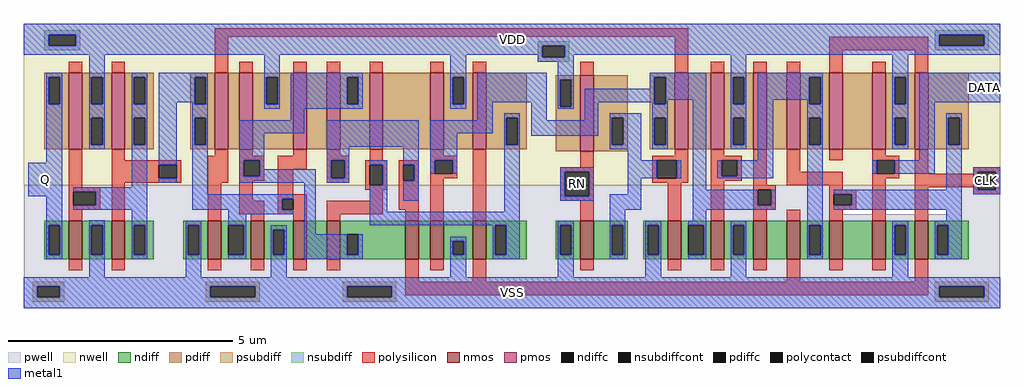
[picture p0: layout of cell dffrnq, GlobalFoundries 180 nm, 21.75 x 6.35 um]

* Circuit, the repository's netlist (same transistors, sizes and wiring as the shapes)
* NGSPICE file created from dffrnq.ext - technology: gf180mcuD

.subckt dffrnq VDD VSS DATA CLK RN Q
X0 a_n870_270# RN VDD VDD pfet_03v3 ad=1.275p pd=4.9u as=0.935p ps=4.5u w=1.7u l=0.3u
X1 a_n1490_270# a_n1300_270# VSS VSS nfet_03v3 ad=0.54825p pd=2.99u as=0.27625p ps=1.5u w=0.85u l=0.3u
X2 a_n1300_270# a_n870_270# VSS VSS nfet_03v3 ad=0.27625p pd=1.5u as=0.4675p ps=2.8u w=0.85u l=0.3u
X3 a_120_270# a_n870_270# VSS VSS nfet_03v3 ad=0.27625p pd=1.5u as=0.4675p ps=2.8u w=0.85u l=0.3u
X4 a_1370_270# CLK a_1620_320# VSS nfet_03v3 ad=0.27625p pd=1.5u as=0.19125p ps=1.3u w=0.85u l=0.3u
X5 a_n730_520# CLK a_n430_810# VDD pfet_03v3 ad=0.5525p pd=2.35u as=0.3825p ps=2.15u w=1.7u l=0.3u
X6 a_n340_270# CLK VSS VSS nfet_03v3 ad=0.765p pd=3.5u as=0.27625p ps=1.5u w=0.85u l=0.3u
X7 VDD a_n730_520# a_n780_810# VDD pfet_03v3 ad=0.765p pd=2.6u as=0.2125p ps=1.95u w=1.7u l=0.3u
X8 a_1620_810# a_120_270# VDD VDD pfet_03v3 ad=0.3825p pd=2.15u as=0.5525p ps=2.35u w=1.7u l=0.3u
X9 VDD a_120_270# a_n90_810# VDD pfet_03v3 ad=0.5525p pd=2.35u as=0.8925p ps=2.75u w=1.7u l=0.3u
X10 a_1710_650# CLK VDD VDD pfet_03v3 ad=1.53p pd=5.2u as=0.5525p ps=2.35u w=1.7u l=0.3u
X11 a_1270_810# a_n870_270# a_120_270# VDD pfet_03v3 ad=0.425p pd=2.2u as=0.935p ps=4.5u w=1.7u l=0.3u
X12 a_n730_520# a_n340_270# a_n430_320# VSS nfet_03v3 ad=0.61625p pd=2.3u as=0.19125p ps=1.3u w=0.85u l=0.3u
X13 a_1620_320# a_120_270# VSS VSS nfet_03v3 ad=0.19125p pd=1.3u as=0.27625p ps=1.5u w=0.85u l=0.3u
X14 VSS a_n730_520# a_n1300_270# VSS nfet_03v3 ad=0.27625p pd=1.5u as=0.27625p ps=1.5u w=0.85u l=0.3u
X15 a_70_320# CLK a_n730_520# VSS nfet_03v3 ad=0.10625p pd=1.1u as=0.61625p ps=2.3u w=0.85u l=0.3u
X16 VDD a_n1490_270# Q VDD pfet_03v3 ad=0.5525p pd=2.35u as=0.935p ps=4.5u w=1.7u l=0.3u
X17 a_n90_810# a_n340_270# a_n730_520# VDD pfet_03v3 ad=0.8925p pd=2.75u as=0.5525p ps=2.35u w=1.7u l=0.3u
X18 VSS a_120_270# a_70_320# VSS nfet_03v3 ad=0.27625p pd=1.5u as=0.10625p ps=1.1u w=0.85u l=0.3u
X19 a_n430_810# a_n1300_270# VDD VDD pfet_03v3 ad=0.3825p pd=2.15u as=0.765p ps=2.6u w=1.7u l=0.3u
X20 VDD a_1370_270# a_1270_810# VDD pfet_03v3 ad=0.5525p pd=2.35u as=0.425p ps=2.2u w=1.7u l=0.3u
X21 a_1960_810# CLK a_1370_270# VDD pfet_03v3 ad=0.5525p pd=2.35u as=0.5525p ps=2.35u w=1.7u l=0.3u
X22 a_1710_650# CLK VSS VSS nfet_03v3 ad=0.765p pd=3.5u as=0.27625p ps=1.5u w=0.85u l=0.3u
X23 a_n780_810# a_n870_270# a_n1300_270# VDD pfet_03v3 ad=0.2125p pd=1.95u as=0.935p ps=4.5u w=1.7u l=0.3u
X24 VDD DATA a_1960_810# VDD pfet_03v3 ad=0.5525p pd=2.35u as=0.5525p ps=2.35u w=1.7u l=0.3u
X25 VSS a_n1490_270# Q VSS nfet_03v3 ad=0.27625p pd=1.5u as=0.4675p ps=2.8u w=0.85u l=0.3u
X26 VSS a_1370_270# a_120_270# VSS nfet_03v3 ad=0.27625p pd=1.5u as=0.27625p ps=1.5u w=0.85u l=0.3u
X27 a_1960_320# a_1710_650# a_1370_270# VSS nfet_03v3 ad=0.27625p pd=1.5u as=0.27625p ps=1.5u w=0.85u l=0.3u
X28 a_n430_320# a_n1300_270# VSS VSS nfet_03v3 ad=0.19125p pd=1.3u as=0.27625p ps=1.5u w=0.85u l=0.3u
X29 a_n1490_270# a_n1300_270# VDD VDD pfet_03v3 ad=1.0965p pd=4.69u as=0.5525p ps=2.35u w=1.7u l=0.3u
X30 a_1370_270# a_1710_650# a_1620_810# VDD pfet_03v3 ad=0.5525p pd=2.35u as=0.3825p ps=2.15u w=1.7u l=0.3u
X31 VSS DATA a_1960_320# VSS nfet_03v3 ad=0.27625p pd=1.5u as=0.27625p ps=1.5u w=0.85u l=0.3u
X32 a_n870_270# RN VSS VSS nfet_03v3 ad=0.6375p pd=3.2u as=0.4675p ps=2.8u w=0.85u l=0.3u
X33 a_n340_270# CLK VDD VDD pfet_03v3 ad=1.53p pd=5.2u as=0.5525p ps=2.35u w=1.7u l=0.3u
.ends

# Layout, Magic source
magic
tech gf180mcuD
magscale 1 10
<< nwell >>
rect -1690 650 2660 1370
<< pwell >>
rect -1690 540 2660 650
rect -1690 520 1960 540
rect 2090 520 2150 540
rect 2280 520 2340 540
rect 2420 520 2660 540
rect -1690 100 2660 520
<< nmos >>
rect -1490 320 -1430 490
rect -1300 320 -1240 490
rect -870 320 -810 490
rect -680 320 -620 490
rect -490 320 -430 490
rect -340 320 -280 490
rect 10 320 70 490
rect 120 320 180 490
rect 310 320 370 490
rect 790 320 850 490
rect 1180 320 1240 490
rect 1370 320 1430 490
rect 1560 320 1620 490
rect 1710 320 1770 490
rect 1900 320 1960 490
rect 2090 320 2150 490
rect 2280 320 2340 490
<< pmos >>
rect -1490 810 -1430 1150
rect -1300 810 -1240 1150
rect -840 810 -780 1150
rect -730 810 -670 1150
rect -490 810 -430 1150
rect -340 810 -280 1150
rect -150 810 -90 1150
rect 120 810 180 1150
rect 310 810 370 1150
rect 790 800 850 1140
rect 1210 810 1270 1150
rect 1370 810 1430 1150
rect 1560 810 1620 1150
rect 1710 810 1770 1150
rect 1900 810 1960 1150
rect 2090 810 2150 1150
rect 2280 810 2340 1150
<< ndiff >>
rect -1600 470 -1490 490
rect -1600 340 -1580 470
rect -1530 340 -1490 470
rect -1600 320 -1490 340
rect -1430 470 -1300 490
rect -1430 340 -1390 470
rect -1340 340 -1300 470
rect -1430 320 -1300 340
rect -1240 470 -1111 490
rect -1240 340 -1200 470
rect -1150 340 -1111 470
rect -1240 320 -1111 340
rect -980 470 -870 490
rect -980 340 -960 470
rect -910 340 -870 470
rect -980 320 -870 340
rect -810 470 -680 490
rect -810 340 -780 470
rect -710 340 -680 470
rect -810 320 -680 340
rect -620 450 -490 490
rect -620 340 -580 450
rect -530 340 -490 450
rect -620 320 -490 340
rect -430 320 -340 490
rect -280 430 10 490
rect -280 340 -250 430
rect -200 340 10 430
rect -280 320 10 340
rect 70 320 120 490
rect 180 400 310 490
rect 180 340 220 400
rect 270 340 310 400
rect 180 320 310 340
rect 370 470 550 490
rect 370 340 410 470
rect 460 340 550 470
rect 370 320 550 340
rect 680 470 790 490
rect 680 340 700 470
rect 750 340 790 470
rect 680 320 790 340
rect 850 470 1000 490
rect 850 340 930 470
rect 980 340 1000 470
rect 850 320 1000 340
rect 1070 470 1180 490
rect 1070 340 1090 470
rect 1140 340 1180 470
rect 1070 320 1180 340
rect 1240 470 1370 490
rect 1240 340 1270 470
rect 1340 340 1370 470
rect 1240 320 1370 340
rect 1430 470 1560 490
rect 1430 340 1470 470
rect 1520 340 1560 470
rect 1430 320 1560 340
rect 1620 320 1710 490
rect 1770 470 1900 490
rect 1770 340 1810 470
rect 1860 340 1900 470
rect 1770 320 1900 340
rect 1960 320 2090 490
rect 2150 470 2280 490
rect 2150 340 2190 470
rect 2240 340 2280 470
rect 2150 320 2280 340
rect 2340 470 2520 490
rect 2340 340 2380 470
rect 2430 340 2520 470
rect 2340 320 2520 340
<< pdiff >>
rect -1600 1130 -1490 1150
rect -1600 1010 -1580 1130
rect -1530 1010 -1490 1130
rect -1600 810 -1490 1010
rect -1430 1130 -1300 1150
rect -1430 1010 -1390 1130
rect -1340 1010 -1300 1130
rect -1430 950 -1300 1010
rect -1430 830 -1390 950
rect -1340 830 -1300 950
rect -1430 810 -1300 830
rect -1240 1130 -1111 1150
rect -1240 1010 -1200 1130
rect -1150 1010 -1111 1130
rect -1240 950 -1111 1010
rect -1240 830 -1200 950
rect -1150 830 -1111 950
rect -1240 810 -1111 830
rect -950 1130 -840 1150
rect -950 1010 -930 1130
rect -880 1010 -840 1130
rect -950 950 -840 1010
rect -950 830 -930 950
rect -880 830 -840 950
rect -950 810 -840 830
rect -780 810 -730 1150
rect -670 1130 -490 1150
rect -670 1010 -610 1130
rect -560 1010 -490 1130
rect -670 810 -490 1010
rect -430 810 -340 1150
rect -280 1130 -150 1150
rect -280 1010 -250 1130
rect -200 1010 -150 1130
rect -280 810 -150 1010
rect -90 810 120 1150
rect 180 1130 310 1150
rect 180 1010 220 1130
rect 270 1010 310 1130
rect 180 810 310 1010
rect 370 950 550 1150
rect 370 830 460 950
rect 510 830 550 950
rect 370 810 550 830
rect 680 1120 790 1140
rect 680 1000 700 1120
rect 750 1000 790 1120
rect 680 800 790 1000
rect 850 950 1000 1140
rect 850 830 930 950
rect 980 830 1000 950
rect 850 800 1000 830
rect 1100 1130 1210 1150
rect 1100 1010 1120 1130
rect 1170 1010 1210 1130
rect 1100 950 1210 1010
rect 1100 830 1120 950
rect 1170 830 1210 950
rect 1100 810 1210 830
rect 1270 810 1370 1150
rect 1430 1130 1560 1150
rect 1430 1010 1470 1130
rect 1520 1010 1560 1130
rect 1430 950 1560 1010
rect 1430 830 1470 950
rect 1520 830 1560 950
rect 1430 810 1560 830
rect 1620 810 1710 1150
rect 1770 1130 1900 1150
rect 1770 1010 1810 1130
rect 1860 1010 1900 1130
rect 1770 950 1900 1010
rect 1770 830 1810 950
rect 1860 830 1900 950
rect 1770 810 1900 830
rect 1960 810 2090 1150
rect 2150 1130 2280 1150
rect 2150 1010 2190 1130
rect 2240 1010 2280 1130
rect 2150 950 2280 1010
rect 2150 830 2190 950
rect 2240 830 2280 950
rect 2150 810 2280 830
rect 2340 950 2520 1150
rect 2340 830 2430 950
rect 2480 830 2520 950
rect 2340 810 2520 830
<< ndiffc >>
rect -1580 340 -1530 470
rect -1390 340 -1340 470
rect -1200 340 -1150 470
rect -960 340 -910 470
rect -780 340 -710 470
rect -580 340 -530 450
rect -250 340 -200 430
rect 220 340 270 400
rect 410 340 460 470
rect 700 340 750 470
rect 930 340 980 470
rect 1090 340 1140 470
rect 1270 340 1340 470
rect 1470 340 1520 470
rect 1810 340 1860 470
rect 2190 340 2240 470
rect 2380 340 2430 470
<< pdiffc >>
rect -1580 1010 -1530 1130
rect -1390 1010 -1340 1130
rect -1390 830 -1340 950
rect -1200 1010 -1150 1130
rect -1200 830 -1150 950
rect -930 1010 -880 1130
rect -930 830 -880 950
rect -610 1010 -560 1130
rect -250 1010 -200 1130
rect 220 1010 270 1130
rect 460 830 510 950
rect 700 1000 750 1120
rect 930 830 980 950
rect 1120 1010 1170 1130
rect 1120 830 1170 950
rect 1470 1010 1520 1130
rect 1470 830 1520 950
rect 1810 1010 1860 1130
rect 1810 830 1860 950
rect 2190 1010 2240 1130
rect 2190 830 2240 950
rect 2430 830 2480 950
<< psubdiff >>
rect -1650 200 -1510 220
rect -1650 150 -1630 200
rect -1530 150 -1510 200
rect -1650 130 -1510 150
rect -880 200 -640 220
rect -880 150 -860 200
rect -660 150 -640 200
rect -880 130 -640 150
rect -270 200 -30 220
rect -270 150 -250 200
rect -50 150 -30 200
rect 2370 200 2610 220
rect -270 130 -30 150
rect 2370 150 2390 200
rect 2590 150 2610 200
rect 2370 130 2610 150
<< nsubdiff >>
rect -1600 1320 -1440 1340
rect -1600 1270 -1580 1320
rect -1460 1270 -1440 1320
rect -1600 1250 -1440 1270
rect 2370 1320 2610 1340
rect 600 1270 740 1290
rect 600 1220 620 1270
rect 720 1220 740 1270
rect 600 1200 740 1220
rect 2370 1270 2390 1320
rect 2590 1270 2610 1320
rect 2370 1250 2610 1270
<< psubdiffcont >>
rect -1630 150 -1530 200
rect -860 150 -660 200
rect -250 150 -50 200
rect 2390 150 2590 200
<< nsubdiffcont >>
rect -1580 1270 -1460 1320
rect 620 1220 720 1270
rect 2390 1270 2590 1320
<< polysilicon >>
rect -840 1310 1270 1350
rect -1490 1150 -1430 1200
rect -1300 1150 -1240 1200
rect -840 1150 -780 1310
rect -730 1150 -670 1200
rect -490 1150 -430 1200
rect -340 1150 -280 1200
rect -150 1150 -90 1200
rect 120 1150 180 1200
rect 310 1150 370 1200
rect 790 1140 850 1200
rect 1210 1150 1270 1310
rect 1900 1250 2340 1310
rect 1370 1150 1430 1200
rect 1560 1150 1620 1200
rect 1710 1150 1770 1200
rect 1900 1150 1960 1250
rect 2090 1150 2150 1200
rect 2280 1150 2340 1250
rect -1490 640 -1430 810
rect -1300 760 -1240 810
rect -840 780 -780 810
rect -1300 740 -990 760
rect -1300 680 -1090 740
rect -1010 680 -990 740
rect -1300 660 -990 680
rect -870 660 -780 780
rect -730 780 -670 810
rect -490 780 -430 810
rect -730 760 -620 780
rect -730 690 -710 760
rect -640 690 -620 760
rect -730 670 -620 690
rect -560 720 -430 780
rect -340 780 -280 810
rect -340 760 -240 780
rect -150 760 -90 810
rect 120 780 180 810
rect 120 760 240 780
rect -1490 620 -1350 640
rect -1490 560 -1470 620
rect -1370 560 -1350 620
rect -1490 540 -1350 560
rect -1490 490 -1430 540
rect -1300 490 -1240 660
rect -870 490 -810 660
rect -730 580 -670 670
rect -560 610 -490 720
rect -340 680 -320 760
rect -260 680 -240 760
rect -340 660 -240 680
rect -170 740 -70 760
rect -170 650 -150 740
rect -90 650 -70 740
rect -170 630 -70 650
rect -20 740 70 760
rect -20 670 0 740
rect 50 670 70 740
rect -560 590 -430 610
rect -730 520 -620 580
rect -560 540 -540 590
rect -490 540 -430 590
rect -150 580 -90 630
rect -560 520 -430 540
rect -680 490 -620 520
rect -490 490 -430 520
rect -340 520 -90 580
rect -20 540 70 670
rect -340 490 -280 520
rect 10 490 70 540
rect 120 700 140 760
rect 220 700 240 760
rect 120 680 240 700
rect 120 490 180 680
rect 310 490 370 810
rect 790 730 850 800
rect 1210 780 1270 810
rect 700 710 850 730
rect 700 600 720 710
rect 830 600 850 710
rect 1110 760 1270 780
rect 1110 680 1130 760
rect 1220 680 1270 760
rect 1110 660 1270 680
rect 1370 780 1430 810
rect 1370 760 1510 780
rect 1370 690 1420 760
rect 1490 690 1510 760
rect 1370 670 1510 690
rect 700 580 850 600
rect 790 490 850 580
rect 1180 490 1240 660
rect 1370 490 1430 670
rect 1560 650 1620 810
rect 1710 710 1770 810
rect 1900 760 1960 810
rect 2090 780 2150 810
rect 2090 760 2210 780
rect 1710 650 1960 710
rect 1560 630 1660 650
rect 1560 560 1580 630
rect 1640 560 1660 630
rect 1560 540 1660 560
rect 1900 630 1960 650
rect 2090 700 2110 760
rect 2190 700 2210 760
rect 2090 680 2210 700
rect 2280 700 2340 810
rect 2540 710 2660 730
rect 2540 700 2560 710
rect 1900 610 2020 630
rect 1900 560 1920 610
rect 2000 560 2020 610
rect 1900 540 2020 560
rect 1560 490 1620 540
rect 1710 490 1770 540
rect 1900 490 1960 540
rect 2090 490 2150 680
rect 2280 640 2560 700
rect 2280 490 2340 640
rect 2540 630 2560 640
rect 2640 630 2660 710
rect 2540 610 2660 630
rect -1490 270 -1430 320
rect -1300 270 -1240 320
rect -870 270 -810 320
rect -680 270 -620 320
rect -490 270 -430 320
rect -340 270 -280 320
rect 10 220 70 320
rect 120 270 180 320
rect 310 220 370 320
rect 790 270 850 320
rect 1180 270 1240 320
rect 1370 270 1430 320
rect 1560 270 1620 320
rect 1710 220 1770 320
rect 1900 270 1960 320
rect 2090 270 2150 320
rect 2280 220 2340 320
rect 10 160 2340 220
<< polycontact >>
rect -1090 680 -1010 740
rect -710 690 -640 760
rect -1470 560 -1370 620
rect -320 680 -260 760
rect -150 650 -90 740
rect 0 670 50 740
rect -540 540 -490 590
rect 140 700 220 760
rect 720 600 830 710
rect 1130 680 1220 760
rect 1420 690 1490 760
rect 1580 560 1640 630
rect 2110 700 2190 760
rect 1920 560 2000 610
rect 2560 630 2640 710
<< metal1 >>
rect -1690 1320 2660 1370
rect -1690 1270 -1580 1320
rect -1460 1270 2390 1320
rect 2590 1270 2660 1320
rect -1690 1230 620 1270
rect -1590 1130 -1520 1150
rect -1590 1010 -1580 1130
rect -1530 1010 -1520 1130
rect -1590 750 -1520 1010
rect -1400 1130 -1329 1230
rect -1400 1010 -1390 1130
rect -1340 1010 -1329 1130
rect -1400 950 -1329 1010
rect -1400 830 -1390 950
rect -1340 940 -1329 950
rect -1210 1130 -1140 1150
rect -1210 1010 -1200 1130
rect -1150 1010 -1140 1130
rect -1210 950 -1140 1010
rect -1340 830 -1330 940
rect -1400 810 -1330 830
rect -1210 830 -1200 950
rect -1150 830 -1140 950
rect -1670 600 -1520 750
rect -1210 640 -1140 830
rect -1090 1130 -870 1150
rect -1090 1020 -930 1130
rect -1090 740 -1010 1020
rect -1090 660 -1010 680
rect -940 1010 -930 1020
rect -880 1010 -870 1130
rect -940 950 -870 1010
rect -620 1130 -550 1230
rect -620 1010 -610 1130
rect -560 1010 -550 1130
rect -620 990 -550 1010
rect -500 1130 -180 1150
rect -500 1010 -250 1130
rect -200 1010 -180 1130
rect -500 990 -180 1010
rect 210 1130 280 1230
rect 600 1220 620 1230
rect 720 1230 2660 1270
rect 720 1220 760 1230
rect 600 1200 760 1220
rect 210 1010 220 1130
rect 270 1010 280 1130
rect 210 990 280 1010
rect 330 1020 640 1150
rect -940 830 -930 950
rect -880 830 -870 950
rect -500 940 -440 990
rect 330 940 400 1020
rect -1590 470 -1520 600
rect -1470 620 -1140 640
rect -1370 560 -1140 620
rect -1470 540 -1140 560
rect -940 610 -870 830
rect -730 880 -440 940
rect -730 760 -620 880
rect -730 690 -710 760
rect -640 720 -620 760
rect -340 820 70 940
rect -340 760 -240 820
rect -640 690 -390 720
rect -730 660 -390 690
rect -340 680 -320 760
rect -260 680 -240 760
rect -340 660 -240 680
rect -150 740 -70 760
rect -940 590 -490 610
rect -940 540 -540 590
rect -1590 340 -1580 470
rect -1530 340 -1520 470
rect -1590 320 -1520 340
rect -1400 470 -1329 494
rect -1400 340 -1390 470
rect -1340 340 -1329 470
rect -1400 240 -1329 340
rect -1210 470 -1140 540
rect -780 520 -490 540
rect -1210 340 -1200 470
rect -1150 340 -1140 470
rect -1210 320 -1140 340
rect -970 470 -900 490
rect -970 340 -960 470
rect -910 340 -900 470
rect -970 240 -900 340
rect -780 470 -700 520
rect -710 340 -700 470
rect -780 320 -700 340
rect -590 450 -520 470
rect -590 340 -580 450
rect -530 340 -520 450
rect -590 240 -520 340
rect -440 430 -390 660
rect -90 650 -70 740
rect -150 530 -70 650
rect 0 740 70 820
rect 50 670 70 740
rect 120 880 400 940
rect 450 950 520 970
rect 120 760 240 880
rect 120 700 140 760
rect 220 700 240 760
rect 450 830 460 950
rect 510 830 520 950
rect 570 940 640 1020
rect 690 1120 760 1200
rect 690 1000 700 1120
rect 750 1000 760 1120
rect 1100 1130 1350 1150
rect 1100 1080 1120 1130
rect 690 990 760 1000
rect 810 1020 1120 1080
rect 810 940 870 1020
rect 1110 1010 1120 1020
rect 1170 1030 1350 1130
rect 1170 1010 1180 1030
rect 570 870 870 940
rect 920 950 1060 970
rect 0 580 70 670
rect 450 530 520 830
rect 920 830 930 950
rect 980 830 1060 950
rect 920 810 1060 830
rect 1110 950 1180 1010
rect 1110 830 1120 950
rect 1170 830 1180 950
rect 1110 810 1180 830
rect 1000 760 1060 810
rect 700 710 850 730
rect 700 600 720 710
rect 830 600 850 710
rect 1000 680 1130 760
rect 1220 680 1240 760
rect 1000 610 1060 680
rect 700 580 850 600
rect -150 470 520 530
rect 920 540 1060 610
rect 1290 630 1350 1030
rect 1460 1130 1530 1230
rect 1460 1010 1470 1130
rect 1520 1010 1530 1130
rect 1460 950 1530 1010
rect 1460 830 1470 950
rect 1520 830 1530 950
rect 1460 810 1530 830
rect 1580 1130 1870 1150
rect 1580 1030 1810 1130
rect 1580 760 1650 1030
rect 1400 690 1420 760
rect 1490 690 1650 760
rect 1400 680 1650 690
rect 1800 1010 1810 1030
rect 1860 1010 1870 1130
rect 1800 950 1870 1010
rect 1800 830 1810 950
rect 1860 830 1870 950
rect 1290 560 1580 630
rect 1640 560 1660 630
rect 1290 540 1660 560
rect -440 340 -250 430
rect -200 340 -180 430
rect -440 320 -180 340
rect 210 400 280 420
rect 210 340 220 400
rect 270 340 280 400
rect 210 240 280 340
rect 400 340 410 470
rect 460 340 520 470
rect 400 320 520 340
rect 690 470 760 490
rect 690 340 700 470
rect 750 340 760 470
rect 690 240 760 340
rect 920 470 990 540
rect 1290 490 1350 540
rect 920 340 930 470
rect 980 340 990 470
rect 920 320 990 340
rect 1080 470 1150 490
rect 1080 340 1090 470
rect 1140 340 1150 470
rect 1080 240 1150 340
rect 1270 470 1350 490
rect 1340 340 1350 470
rect 1270 320 1350 340
rect 1460 470 1530 490
rect 1460 340 1470 470
rect 1520 340 1530 470
rect 1460 240 1530 340
rect 1800 470 1870 830
rect 2180 1130 2250 1230
rect 2180 1010 2190 1130
rect 2240 1010 2250 1130
rect 2180 950 2250 1010
rect 2180 830 2190 950
rect 2240 830 2250 950
rect 2180 810 2250 830
rect 2300 1020 2660 1150
rect 2300 760 2370 1020
rect 2090 700 2110 760
rect 2190 700 2370 760
rect 2420 950 2490 970
rect 2420 830 2430 950
rect 2480 830 2490 950
rect 2420 630 2490 830
rect 1920 610 2490 630
rect 2540 710 2660 730
rect 2540 630 2560 710
rect 2640 630 2660 710
rect 2540 610 2660 630
rect 2000 560 2490 610
rect 1920 540 2490 560
rect 2420 490 2490 540
rect 1800 340 1810 470
rect 1860 340 1870 470
rect 1800 320 1870 340
rect 2180 470 2250 490
rect 2180 340 2190 470
rect 2240 340 2250 470
rect 2180 240 2250 340
rect 2370 470 2490 490
rect 2370 340 2380 470
rect 2430 340 2490 470
rect 2370 320 2490 340
rect -1690 200 2660 240
rect -1690 150 -1630 200
rect -1530 150 -860 200
rect -660 150 -250 200
rect -50 150 2390 200
rect 2590 150 2660 200
rect -1690 100 2660 150
<< labels >>
flabel metal1 s 700 580 850 730 0 FreeSans 480 0 0 0 RN
port 6 nsew
flabel metal1 s -1670 600 -1520 750 0 FreeSans 480 0 0 0 Q
port 7 nsew
flabel metal1 s 2540 610 2660 730 0 FreeSans 480 0 0 0 CLK
port 5 nsew
flabel metal1 s 2520 1020 2660 1150 0 FreeSans 480 0 0 0 DATA
port 2 nsew
flabel metal1 s -1690 100 2660 240 0 FreeSans 480 0 0 0 VSS
port 1 nsew
flabel metal1 s -1690 1230 2660 1370 0 FreeSans 480 0 0 0 VDD
port 0 nsew
<< end >>
